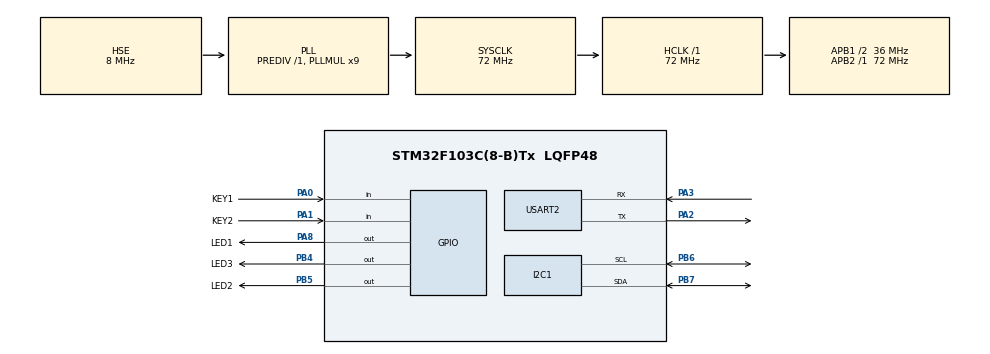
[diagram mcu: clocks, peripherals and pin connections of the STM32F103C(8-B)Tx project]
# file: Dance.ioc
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FREERTOS.INCLUDE_vTaskDelayUntil=1
FREERTOS.Tasks01=OLEDTask,0,128,StartOLEDTask,Default,NULL,Dynamic,NULL,NULL;IMUTask,-3,128,StartIMUTask,Default,NULL,Dynamic,NULL,NULL;BTTask,-3,128,StartBTTask,Default,NULL,Dynamic,NULL,NULL
Mcu.Family=STM32F1
Mcu.Name=STM32F103C(8-B)Tx
Mcu.Package=LQFP48
NVIC.PriorityGroup=NVIC_PRIORITYGROUP_4
NVIC.TIM4_IRQn=true\:0\:0\:false\:false\:true\:false\:false\:true
NVIC.TimeBase=TIM4_IRQn
NVIC.TimeBaseIP=TIM4
PA0-WKUP.GPIO_Label=KEY1
PA0-WKUP.Signal=GPIO_Input
PA1.GPIO_Label=KEY2
PA1.Signal=GPIO_Input
PA13.Mode=Serial_Wire
PA13.Signal=SYS_JTMS-SWDIO
PA14.Mode=Serial_Wire
PA14.Signal=SYS_JTCK-SWCLK
PA2.Mode=Asynchronous
PA2.Signal=USART2_TX
PA3.Mode=Asynchronous
PA3.Signal=USART2_RX
PA8.GPIO_Label=LED1
PA8.Signal=GPIO_Output
PB4.GPIO_Label=LED3
PB4.Signal=GPIO_Output
PB5.GPIO_Label=LED2
PB5.Signal=GPIO_Output
PB6.Mode=I2C
PB6.Signal=I2C1_SCL
PB7.Mode=I2C
PB7.Signal=I2C1_SDA
PD0-OSC_IN.Mode=HSE-External-Oscillator
PD0-OSC_IN.Signal=RCC_OSC_IN
PD1-OSC_OUT.Mode=HSE-External-Oscillator
PD1-OSC_OUT.Signal=RCC_OSC_OUT
ProjectManager.HeapSize=0x600
ProjectManager.StackSize=0x400
ProjectManager.TargetToolchain=SW4STM32
RCC.AHBFreq_Value=72000000
RCC.APB1CLKDivider=RCC_HCLK_DIV2
RCC.APB1Freq_Value=36000000
RCC.APB1TimFreq_Value=72000000
RCC.APB2Freq_Value=72000000
RCC.APB2TimFreq_Value=72000000
RCC.HCLKFreq_Value=72000000
RCC.PLLMUL=RCC_PLL_MUL9
RCC.PLLSourceVirtual=RCC_PLLSOURCE_HSE
RCC.SYSCLKFreq_VALUE=72000000
RCC.SYSCLKSource=RCC_SYSCLKSOURCE_PLLCLK
RCC.USBFreq_Value=72000000
USART2.VirtualMode=VM_ASYNC
VP_FREERTOS_VS_CMSIS_V1.Mode=CMSIS_V1
VP_SYS_VS_tim4.Mode=TIM4
board=custom

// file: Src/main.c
/* USER CODE BEGIN Header */
/**
  ******************************************************************************
  * @file           : main.c
  * @brief          : Main program body
  ******************************************************************************
  * @attention
  *
  * <h2><center>&copy; Copyright (c) 2021 STMicroelectronics.
  * All rights reserved.</center></h2>
  *
  * This software component is licensed by ST under Ultimate Liberty license
  * SLA0044, the "License"; You may not use this file except in compliance with
  * the License. You may obtain a copy of the License at:
  *                             www.st.com/SLA0044
  *
  ******************************************************************************
  */
/* USER CODE END Header */
#include "main.h"
#include "cmsis_os.h"
#include "i2c.h"
#include "usart.h"
#include "gpio.h"

/* USER CODE BEGIN Includes */
#include "oled.h"
#include "imu.h"
#include "bmp.h"
#include "inv_mpu.h"
#include "inv_mpu_dmp_motion_driver.h"
/* USER CODE END Includes */

void SystemClock_Config(void);
void MX_FREERTOS_Init(void);

int main(void)
{

  /* MCU Configuration--------------------------------------------------------*/

  /* Reset of all peripherals, Initializes the Flash interface and the Systick. */
  HAL_Init();

  /* Configure the system clock */
  SystemClock_Config();

  /* USER CODE BEGIN SysInit */
  OLED_InitConfig();
  OLED_DrawBMP(0, 0, 126, 8, BMP);
  i2c_GPIO_Config();
  MPU6050_Init();
  /* USER CODE END SysInit */

  /* Initialize all configured peripherals */
  MX_GPIO_Init();
  MX_I2C1_Init();
  MX_USART2_UART_Init();
  /* USER CODE BEGIN 2 */
  while(mpu_dmp_init()){
    OLED_ShowString(0, 0, "mpu_dmp_error");
  }

  /* USER CODE END 2 */

  /* Call init function for freertos objects (in freertos.c) */
  MX_FREERTOS_Init();
  /* Start scheduler */
  osKernelStart();

  /* We should never get here as control is now taken by the scheduler */
  /* Infinite loop */
  while (1)
  {

  }
}

void SystemClock_Config(void)
{
  RCC_OscInitTypeDef RCC_OscInitStruct = {0};
  RCC_ClkInitTypeDef RCC_ClkInitStruct = {0};

  /** Initializes the RCC Oscillators according to the specified parameters
  * in the RCC_OscInitTypeDef structure.
  */
  RCC_OscInitStruct.OscillatorType = RCC_OSCILLATORTYPE_HSE;
  RCC_OscInitStruct.HSEState = RCC_HSE_ON;
  RCC_OscInitStruct.HSEPredivValue = RCC_HSE_PREDIV_DIV1;
  RCC_OscInitStruct.HSIState = RCC_HSI_ON;
  RCC_OscInitStruct.PLL.PLLState = RCC_PLL_ON;
  RCC_OscInitStruct.PLL.PLLSource = RCC_PLLSOURCE_HSE;
  RCC_OscInitStruct.PLL.PLLMUL = RCC_PLL_MUL9;
  if (HAL_RCC_OscConfig(&RCC_OscInitStruct) != HAL_OK)
  {
    Error_Handler();
  }
  /** Initializes the CPU, AHB and APB buses clocks
  */
  RCC_ClkInitStruct.ClockType = RCC_CLOCKTYPE_HCLK|RCC_CLOCKTYPE_SYSCLK
                              |RCC_CLOCKTYPE_PCLK1|RCC_CLOCKTYPE_PCLK2;
  RCC_ClkInitStruct.SYSCLKSource = RCC_SYSCLKSOURCE_PLLCLK;
  RCC_ClkInitStruct.AHBCLKDivider = RCC_SYSCLK_DIV1;
  RCC_ClkInitStruct.APB1CLKDivider = RCC_HCLK_DIV2;
  RCC_ClkInitStruct.APB2CLKDivider = RCC_HCLK_DIV1;

  if (HAL_RCC_ClockConfig(&RCC_ClkInitStruct, FLASH_LATENCY_2) != HAL_OK)
  {
    Error_Handler();
  }
}

 /**
  * @brief  Period elapsed callback in non blocking mode
  * @note   This function is called  when TIM4 interrupt took place, inside
  * HAL_TIM_IRQHandler(). It makes a direct call to HAL_IncTick() to increment
  * a global variable "uwTick" used as application time base.
  * @param  htim : TIM handle
  * @retval None
  */
void HAL_TIM_PeriodElapsedCallback(TIM_HandleTypeDef *htim)
{
  if (htim->Instance == TIM4) {
    HAL_IncTick();
  }
}

void Error_Handler(void)
{
  __disable_irq();
  while (1)
  {
  }
}

/************************ (C) COPYRIGHT STMicroelectronics *****END OF FILE****/

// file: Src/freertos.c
/* USER CODE BEGIN Header */
/**
  ******************************************************************************
  * File Name          : freertos.c
  * Description        : Code for freertos applications
  ******************************************************************************
  * @attention
  *
  * <h2><center>&copy; Copyright (c) 2021 STMicroelectronics.
  * All rights reserved.</center></h2>
  *
  * This software component is licensed by ST under Ultimate Liberty license
  * SLA0044, the "License"; You may not use this file except in compliance with
  * the License. You may obtain a copy of the License at:
  *                             www.st.com/SLA0044
  *
  ******************************************************************************
  */
/* USER CODE END Header */

#include <gpio.h>
#include "FreeRTOS.h"
#include "task.h"
#include "main.h"
#include "cmsis_os.h"

/* USER CODE BEGIN Includes */
#include "oled.h"
#include "inv_mpu.h"
#include "inv_mpu_dmp_motion_driver.h"
#include "math.h"
#include "kalman.h"
/* USER CODE END Includes */

osThreadId OLEDTaskHandle;
osThreadId IMUTaskHandle;
osThreadId BTTaskHandle;

void StartOLEDTask(void const * argument);
void StartIMUTask(void const * argument);
void StartBTTask(void const * argument);

void MX_FREERTOS_Init(void); /* (MISRA C 2004 rule 8.1) */

/* GetIdleTaskMemory prototype (linked to static allocation support) */
void vApplicationGetIdleTaskMemory( StaticTask_t **ppxIdleTaskTCBBuffer, StackType_t **ppxIdleTaskStackBuffer, uint32_t *pulIdleTaskStackSize );

/* USER CODE BEGIN GET_IDLE_TASK_MEMORY */
static StaticTask_t xIdleTaskTCBBuffer;
static StackType_t xIdleStack[configMINIMAL_STACK_SIZE];

void vApplicationGetIdleTaskMemory( StaticTask_t **ppxIdleTaskTCBBuffer, StackType_t **ppxIdleTaskStackBuffer, uint32_t *pulIdleTaskStackSize )
{
  *ppxIdleTaskTCBBuffer = &xIdleTaskTCBBuffer;
  *ppxIdleTaskStackBuffer = &xIdleStack[0];
  *pulIdleTaskStackSize = configMINIMAL_STACK_SIZE;
  /* place for user code */
}
/* USER CODE END GET_IDLE_TASK_MEMORY */

void MX_FREERTOS_Init(void) {

  /* Create the thread(s) */
  /* definition and creation of OLEDTask */
  osThreadDef(OLEDTask, StartOLEDTask, osPriorityNormal, 0, 128);
  OLEDTaskHandle = osThreadCreate(osThread(OLEDTask), NULL);

  /* definition and creation of IMUTask */
  osThreadDef(IMUTask, StartIMUTask, osPriorityIdle, 0, 128);
  IMUTaskHandle = osThreadCreate(osThread(IMUTask), NULL);

  /* definition and creation of BTTask */
  osThreadDef(BTTask, StartBTTask, osPriorityIdle, 0, 128);
  BTTaskHandle = osThreadCreate(osThread(BTTask), NULL);

}

/* USER CODE BEGIN Header_StartOLEDTask */
/**
  * @brief  Function implementing the OLEDTask thread.
  * @param  argument: Not used
  * @retval None
  */
#define PI  3.141

float pitch, roll, yaw;
float pitch_buf, roll_buf, yaw_buf;
float cube[8][3]={{-20,-20,-20},{-20,20,-20},{20,20,-20},{20,-20,-20},{-20,-20,20},{-20,20,20},{20,20,20},{20,-20,20}};//各点坐标
int lineid[]={1,2,2,3,3,4,4,1,5,6,6,7,7,8,8,5,8,4,7,3,6,2,5,1,1,3,2,4};//连接顺序

float *matconv(float *a, float b[3][3]){
    float res[3];
    int i;
    for(i=0; i<3; ++i)
        res[i] = b[i][0] * a[0] + b[i][1] * a[1] + b[i][2] * a[2];
    for(i=0; i<3; ++i)
        a[i] = res[i];
    return a;
}

void rotate(float* obj, float x, float y, float z){
    x /= PI; y /= PI; z /= PI;
    float rz[3][3] = {{cos(z),-sin(z),0}, {sin(z),cos(z),0}, {0,0,1}};
    float ry[3][3] = {{1,0,0}, {0,cos(y),-sin(y)}, {0,sin(y),cos(y)}};
    float rx[3][3] = {{cos(x),0,sin(x)}, {0,1,0}, {-sin(x),0,cos(x)}};
    matconv(matconv(matconv(obj,rz), ry), rx);
}

static uint8_t flag = 0;

/* USER CODE END Header_StartOLEDTask */
void StartOLEDTask(void const * argument)
{
  /* USER CODE BEGIN StartOLEDTask */
    uint8_t x = 0, i;
    Before_State_Update(pitch);
    Before_State_Update(roll);
    Before_State_Update(yaw);
    OLED_Clear();
    /* Infinite loop */
    for(;;){//简单的按键切换
        if(KEY_ON == Key1_Scan()){
            OLED_Clear();
            for(x=0; x<128; x=(x+1)%128){
                //OLED_ShowString(0, 0, (char*)"roll");
                OLED_DrawWave(x, (int8_t)roll/3);
                osDelay(10);
                if(KEY_ON == Key1_Scan()){
                    OLED_Clear();
                    for(x=0; x<128; x=(x+1)%128){
                        //OLED_ShowString(0, 0, (char*)"pitch");
                        OLED_DrawWave(x, (int8_t)pitch/3);
                        osDelay(10);
                        if(KEY_ON == Key1_Scan()){
                            OLED_Clear();
                            for(x=0; x<128; x=(x+1)%128){
                                //OLED_ShowString(0, 0, (char*)"yaw");
                                OLED_DrawWave(x, (int8_t)yaw/3);
                                if(KEY_ON == Key2_Scan())
                                    break;
                            }
                        }
                        if(KEY_ON == Key2_Scan())
                            break;
                    }
                }
                if(KEY_ON == Key2_Scan()){
                    break;
                }
                osDelay(10);
            }
        }
        OLED_Clear();
        for(i=0; i<8; i++)
            rotate(cube[i], pitch/360, roll/360, yaw/360);
        for(i=0; i<28; i+=2)
            OLED_DrawLine(64+cube[lineid[i]-1][0], 32+cube[lineid[i]-1][1], 64+cube[lineid[i+1]-1][0], 32+cube[lineid[i+1]-1][1], 1);
        OLED_Refresh();

        osDelay(10);
  }
  /* USER CODE END StartOLEDTask */
}

void StartIMUTask(void const * argument)
{
  /* USER CODE BEGIN StartIMUTask */
  /* Infinite loop */
  for(;;)
  {
      mpu_dmp_get_data(&pitch, &roll, &yaw);
      //Angle_Calcu();
      //pitch = Angle_X_Final;
      //roll = Angle_Y_Final;
      //yaw = 0;
      osDelay(2);
  }
  /* USER CODE END StartIMUTask */
}

void StartBTTask(void const * argument)
{
  /* USER CODE BEGIN StartBTTask */

  /* Infinite loop */
  for(;;)
  {//蓝牙暂时没加
      if(KEY_ON == Key1_Scan())
          HAL_GPIO_TogglePin(LED1_GPIO_Port, LED1_Pin);
      osDelay(10);
      if(KEY_ON == Key2_Scan())
          HAL_GPIO_TogglePin(LED2_GPIO_Port, LED2_Pin);
      osDelay(10);
  }
  /* USER CODE END StartBTTask */
}

/************************ (C) COPYRIGHT STMicroelectronics *****END OF FILE****/
